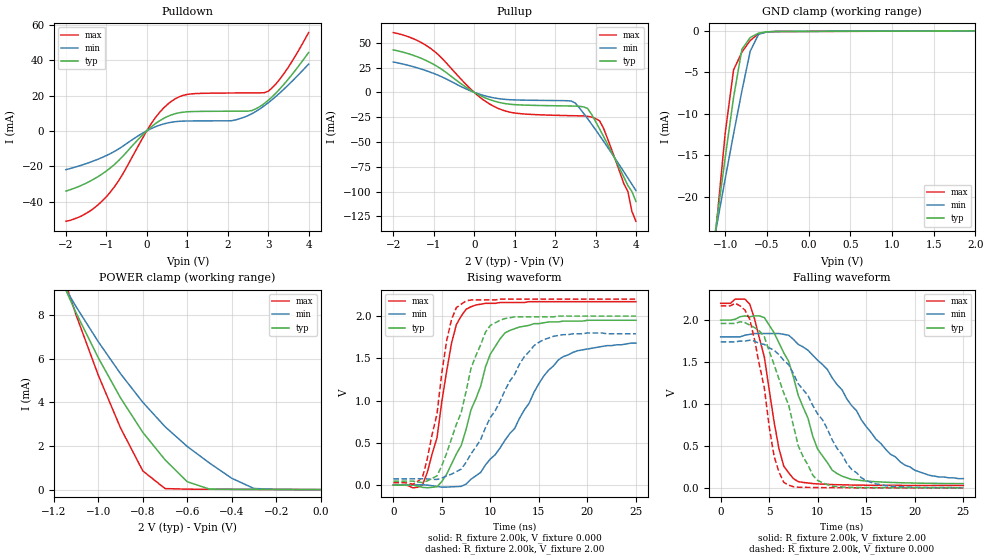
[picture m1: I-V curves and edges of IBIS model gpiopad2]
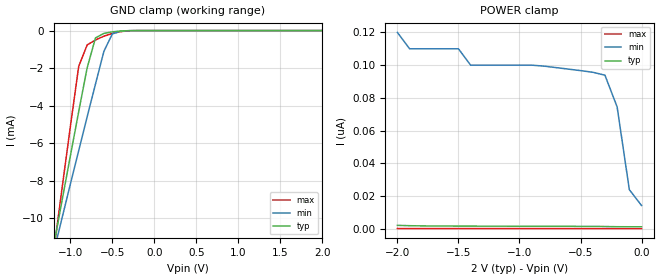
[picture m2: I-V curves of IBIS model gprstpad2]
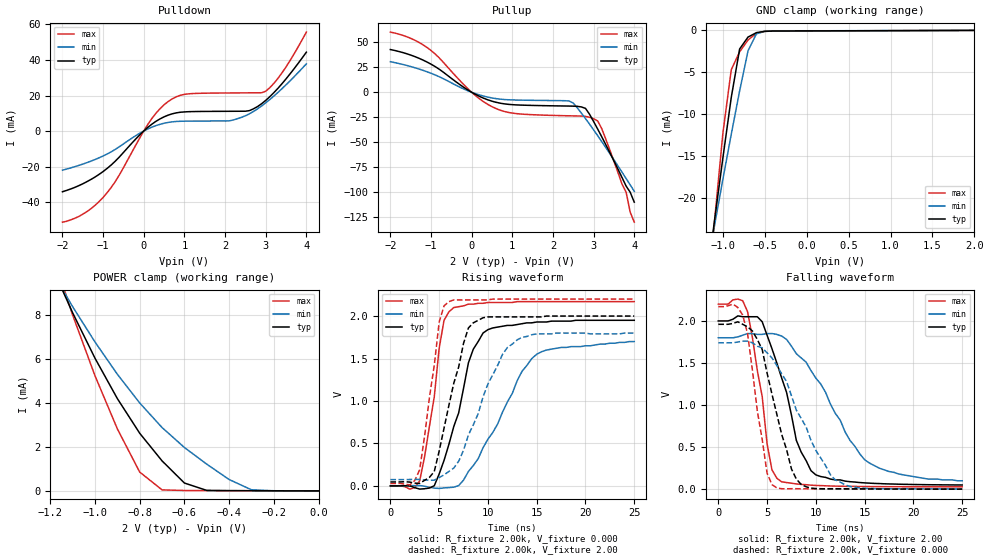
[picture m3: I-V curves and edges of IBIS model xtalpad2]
| IBIS file m322m44.ibs created by s2ibis2 version 1.1
| North Carolina State University Electronics Research Laboratory  1995
[IBIS ver]   2.1
[File name]   m322m44.ibs
[File Rev]   1.2
[Date]   April 19, 2006
[Source]   Lars Snith
[Notes]   Property of Atmel Corporation
[Disclaimer] (C) Copyright ATMEL Norway 2006 Atmel Norway makes no warranty
                 for the use of its products, other than those explicitly
                 stated in the Company's standard warranty which is detailed in
                 Atmel's Terms and Conditions located on the Company's web
                 site. The Company assumes no responsibility for any errors
                 which may appear in this document. The user is granted this
                 license only to use the IBIS model and is not granted rights
                 to sell, load, rent, lease or license the IBIS model in whole
                 or in part, or in modified form to anyone other than user.
                 User may modify the IBIS model to suit its specific
                 applications but rights to derivative works and such
                 modifications shall belong to Atmel Norway. This IBIS model is
                 provided on an \"AS IS\" basis and Atmel Norway makes
                 absolutely no warranty with respect to the information
                 contained herein.
[Copyright]   Copyright (c) 2006 by ATMEL Norway
|   Component atmega32_20_mlf44
[Component]   atmega32_20_mlf44
[Manufacturer]   Atmel Corp.
[Package]
| variable   typ   min   max
R_pkg   10.20m   9.10m   11.30m
L_pkg   73.30pH   66.40pH   80.10pH
C_pkg   0.16pF   0.15pF   0.16pF
[Pin]  signal_name   model_name   R_pin   L_pin   C_pin
1   PB5   gpiopad2
| db5  db5   dummy
| enb5 enb5   dummy
2   PB6   gpiopad2
| db6  db6   dummy
| enb6 enb6   dummy
3   PB7   gpiopad2
| db7  db7   dummy
| enb7 enb7   dummy
4   RESET   gprstpad2
5   VCC   POWER
6   GND   GND
7   XTAL2   xtalpad2
| dx2  dx2   dummy
| enx2 enx2   dummy
8   XTAL1   xtalpad2
| dx1  dx1   dummy
| enx1 enx1   dummy
9   PD0   gpiopad2
| dd0  dd0   dummy
| end0 end0   dummy
10   PD1   gpiopad2
| dd1  dd1   dummy
| end1 end1   dummy
11   PD2   gpiopad2
| dd2  dd2   dummy
| end2 end2   dummy
12   PD3   gpiopad2
| dd3  dd3   dummy
| end3 end3   dummy
13   PD4   gpiopad2
| dd4  dd4   dummy
| end4 end4   dummy
14   PD5   gpiopad2
| dd5  dd5   dummy
| end5 end5   dummy
15   PD6   gpiopad2
| dd6  dd6   dummy
| end6 end6   dummy
16   PD7   gpiopad2
| dd7  dd7   dummy
| end7 end7   dummy
17   VCC   POWER
18   GND   GND
19   PC0   gpiopad2
| dc0  dc0   dummy
| enc0 enc0   dummy
20   PC1   gpiopad2
| dc1  dc1   dummy
| enc1 enc1   dummy
21   PC2   gpiopad2
| dc2  dc2   dummy
| enc2 enc2   dummy
22   PC3   gpiopad2
| dc3  dc3   dummy
| enc3 enc3   dummy
23   PC4   gpiopad2
| dc4  dc4   dummy
| enc4 enc4   dummy
24   PC5   gpiopad2
| dc5  dc5   dummy
| enc5 enc5   dummy
25   PC6   gpiopad2
| dc6  dc6   dummy
| enc6 enc6   dummy
26   PC7   gpiopad2
| dc7  dc7   dummy
| enc7 enc7   dummy
27   AVCC   POWER
28   GND   GND
29   AREF   gpiopad2
| darefdaref   dummy
| enarfenarf   dummy
30   PA7   gpiopad2
| da7  da7   dummy
| ena7 ena7   dummy
31   PA6   gpiopad2
| da6  da6   dummy
| ena6 ena6   dummy
32   PA5   gpiopad2
| da5  da5   dummy
| ena5 ena5   dummy
33   PA4   gpiopad2
| da4  da4   dummy
| ena4 ena4   dummy
34   PA3   gpiopad2
| da3  da3   dummy
| ena3 ena3   dummy
35   PA2   gpiopad2
| da2  da2   dummy
| ena2 ena2   dummy
36   PA1   gpiopad2
| da1  da1   dummy
| ena1 ena1   dummy
37   PA0   gpiopad2
| da0  da0   dummy
| ena0 ena0   dummy
38   VCC   POWER
39   GND   GND
40   PB0   gpiopad2
| db0  db0   dummy
| enb0 enb0   dummy
41   PB1   gpiopad2
| db1  db1   dummy
| enb1 enb1   dummy
42   PB2   gpiopad2
| db2  db2   dummy
| enb2 enb2   dummy
43   PB3   gpiopad2
| db3  db3   dummy
| enb3 enb3   dummy
44   PB4   gpiopad2
| Models and submodels in the file (3): gpiopad2 (I/O), gprstpad2 (Input), xtalpad2 (I/O)
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| db4  db4   dummy
| enb4 enb4   dummy
|   Model gpiopad2
[Model]   gpiopad2
Model_type   I/O
Polarity   Non-Inverting
Enable   Active-High
Vinl =   0.60V
Vinh =   1.40V
Vmeas =   1.00V
Cref =  50.00pF
C_comp   6.77pF   6.76pF   7.17pF
[Temperature Range]   27.00   0.12k   -55.00
[Voltage Range]   2.00V   1.80V   2.20V
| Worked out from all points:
|   slope of the pulldown table from 0 to 0.3 V, typ, clamps not added: 55.3 ohm
|   slope of the pullup table from 0 to 0.3 V, typ, clamps not added: 49.8 ohm
|   GND clamp passes 1 mA (typ) near -0.71 V on its own axis
|   POWER clamp passes 1 mA (typ) near -0.66 V on its own axis
|   rising waveform, R_fixture 2.00k, V_fixture 0.000: 20-80 % time 3.46ns typ, 5.63ns min, 1.96ns max; typ from 0 V to 1.95 V
|   rising waveform, R_fixture 2.00k, V_fixture 2.00: 20-80 % time 3.14ns typ, 4.8ns min, 1.85ns max; typ from 0.047 V to 2 V
|   falling waveform, R_fixture 2.00k, V_fixture 2.00: 20-80 % time 3.62ns typ, 6.53ns min, 1.98ns max; typ from 2 V to 0.05 V
|   falling waveform, R_fixture 2.00k, V_fixture 0.000: 20-80 % time 3.22ns typ, 5.37ns min, 1.88ns max; typ from 1.96 V to 0.001 V
[Pulldown]
| voltage   I(typ)   I(min)   I(max)
-2V       -34.09mA   -21.96mA   -51.2mA
-1.4V     -28.44mA   -17.74mA   -45.29mA
-1V       -22.72mA   -13.98mA   -37.27mA
-600mV    -14.54mA   -8.78mA    -24.63mA
100mV     2.09mA     1.2mA      3.78mA
600mV     8.97mA     4.87mA     16.62mA
1V        10.79mA    5.58mA     20.65mA
2.1V      11.13mA    5.75mA     21.43mA
2.6V      11.51mA    9.72mA     21.51mA
3V        17.24mA    15.87mA    22.4mA
3.4V      26.62mA    23.83mA    32.71mA
4V        44.35mA    37.79mA    55.65mA
[Pullup]
| voltage   I(typ)   I(min)   I(max)
-2V       42.79mA    30.6mA     60.26mA
-1.1V     30.32mA    20.57mA    44.92mA
0V        0A         0A         0A
600mV     -10mA      -6.32mA    -16.31mA
1.1V      -12.62mA   -7.76mA    -21.34mA
2.4V      -13.78mA   -8.76mA    -23.53mA
2.8V      -16.12mA   -26.29mA   -24.12mA
3.1V      -36.81mA   -43.43mA   -28.68mA
3.2V      -44.55mA   -49.36mA   -36.36mA
3.8V      -93.88mA   -86.34mA   -100mA
3.9V      -100mA     -92.67mA   -120mA
4V        -110mA     -99.05mA   -130mA
[GND_clamp]
| voltage   I(typ)   I(min)   I(max)
-2V       -96.61mA   -77.59mA   -130mA
-1.2V     -30.47mA   -29.07mA   -33.69mA
-1.1V     -22.78mA   -23.38mA   -22.85mA
-1V       -15.27mA   -17.82mA   -12.32mA
-900mV    -8.03mA    -12.43mA   -4.71mA
-800mV    -2.22mA    -7.24mA    -2.56mA
-700mV    -800uA     -2.44mA    -1.15mA
-600mV    -270uA     -410uA     -350uA
-500mV    -110uA     -120uA     -120uA
2V        53.05pA    8.17uA     -6.36uA
[POWER_clamp]
| voltage   I(typ)   I(min)   I(max)
-2V       33.07mA    27.16mA    42.54mA
-1.2V     10.39mA    10.14mA    11.12mA
-1.1V     8.12mA     8.4mA      8.02mA
-1V       6.05mA     6.79mA     5.25mA
-900mV    4.21mA     5.32mA     2.83mA
-800mV    2.63mA     4.01mA     860uA
-700mV    1.37mA     2.89mA     47.11uA
-600mV    360uA      1.98mA     20uA
-500mV    23.78uA    1.22mA     15.94uA
-400mV    12.49uA    520uA      12.74uA
-300mV    9.23uA     51.48uA    9.55uA
0V        53.08pA    1.68nA     17.78pA
[Ramp]
| variable   typ   min   max
dV/dt_r   1.17/3.46n   1.01/5.69n   1.30/1.96n
dV/dt_f   1.17/3.61n   1.02/6.65n   1.30/1.96n
R_load = 2.00k
[Rising Waveform]
R_fixture = 2.00k
V_fixture = 0.000
V_fixture_min = 0.000
V_fixture_max = 0.000
| time   V(typ)   V(min)   V(max)
0s        0V         540nV      0V
3ns       -26.07mV   3.81mV     -420uV
4.5ns     -19.04mV   -14.99mV   560mV
6ns       250mV      -19.95mV   1.68V
6.5ns     370mV      -17.45mV   1.9V
7.5ns     660mV      12.62mV    2.08V
10ns      1.55V      310mV      2.15V
11.5ns    1.8V       530mV      2.16V
17ns      1.93V      1.48V      2.17V
25ns      1.95V      1.68V      2.17V
[Rising Waveform]
R_fixture = 2.00k
V_fixture = 2.00
V_fixture_min = 1.80
V_fixture_max = 2.20
| time   V(typ)   V(min)   V(max)
0s        46.62mV    73.87mV    28.11mV
3ns       30.35mV    75.81mV    90.32mV
4.5ns     110mV      67.1mV     840mV
5.5ns     380mV      110mV      1.71V
6.5ns     720mV      160mV      2.1V
8ns       1.38V      370mV      2.19V
10ns      1.89V      800mV      2.19V
13.5ns    1.99V      1.52V      2.2V
15ns      1.99V      1.69V      2.2V
25ns      2V         1.79V      2.2V
[Falling Waveform]
R_fixture = 2.00k
V_fixture = 2.00
V_fixture_min = 1.80
V_fixture_max = 2.20
| time   V(typ)   V(min)   V(max)
0s        2V         1.8V       2.2V
3ns       2.04V      1.83V      2.19V
4.5ns     2.03V      1.84V      1.56V
6ns       1.73V      1.84V      470mV
6.5ns     1.61V      1.83V      260mV
7.5ns     1.32V      1.77V      110mV
10ns      460mV      1.52V      46.94mV
12ns      170mV      1.23V      37.41mV
18.5ns    61.13mV    310mV      29.3mV
25ns      50.37mV    110mV      28.26mV
[Falling Waveform]
R_fixture = 2.00k
V_fixture = 0.000
V_fixture_min = 0.000
V_fixture_max = 0.000
| time   V(typ)   V(min)   V(max)
0s        1.96V      1.74V      2.17V
3ns       1.94V      1.76V      2.01V
4.5ns     1.8V       1.71V      1.19V
5.5ns     1.47V      1.64V      380mV
6.5ns     1.13V      1.52V      65.91mV
8ns       500mV      1.24V      7.44mV
10ns      87.47mV    880mV      3.49mV
13ns      7.48mV     290mV      1.6mV
15ns      3.68mV     87.54mV    910uV
25ns      620uV      2.58mV     43.14uV
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|   Model gprstpad2
[Model]   gprstpad2
Model_type   Input
Polarity   Non-Inverting
Vinl =   0.60V
Vinh =   1.40V
C_comp   1.14pF   0.79pF   1.19pF
[Temperature Range]   27.00   0.12k   -55.00
[Voltage Range]   2.00V   1.80V   2.20V
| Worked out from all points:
|   GND clamp passes 1 mA (typ) near -0.74 V on its own axis
[GND_clamp]
| voltage   I(typ)   I(min)   I(max)
-2V       -31.76mA   -26.99mA   -40.4mA
-1.2V     -11.53mA   -11.86mA   -11.86mA
-1.1V     -9.1mA     -10.02mA   -8.46mA
-1V       -6.7mA     -8.2mA     -5.14mA
-900mV    -4.32mA    -6.4mA     -1.91mA
-800mV    -2mA       -4.61mA    -770uA
-700mV    -390uA     -2.85mA    -500uA
-600mV    -150uA     -1.11mA    -300uA
-500mV    -67.56uA   -180uA     -150uA
-400mV    -22.8uA    -32.08uA   -55.94uA
-200mV    -460nA     -810nA     -580nA
2V        1.32nA     74.51nA    170pA
[POWER_clamp]
| voltage   I(typ)   I(min)   I(max)
-2V       2.2nA      120nA      240pA
-1.9V     1.98nA     110nA      230pA
-1.5V     1.75nA     110nA      220pA
-1.4V     1.73nA     100nA      220pA
-900mV    1.64nA     100nA      200pA
-400mV    1.56nA     95.67nA    190pA
-300mV    1.49nA     93.89nA    190pA
-200mV    1.36nA     74.51nA    180pA
-100mV    1.34nA     23.99nA    180pA
0V        1.32nA     14.31nA    180pA
|   Model xtalpad2
[Model]   xtalpad2
Model_type   I/O
Polarity   Non-Inverting
Enable   Active-High
Vinl =   0.60V
Vinh =   1.40V
Vmeas =   1.00V
Cref =  50.00pF
C_comp   4.23pF   4.23pF   4.63pF
[Temperature Range]   27.00   0.12k   -55.00
[Voltage Range]   2.00V   1.80V   2.20V
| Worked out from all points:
|   slope of the pulldown table from 0 to 0.3 V, typ, clamps not added: 55.3 ohm
|   slope of the pullup table from 0 to 0.3 V, typ, clamps not added: 49.8 ohm
|   GND clamp passes 1 mA (typ) near -0.71 V on its own axis
|   POWER clamp passes 1 mA (typ) near -0.66 V on its own axis
|   rising waveform, R_fixture 2.00k, V_fixture 0.000: 20-80 % time 2.61ns typ, 4.49ns min, 1.55ns max; typ from 0 V to 1.95 V
|   rising waveform, R_fixture 2.00k, V_fixture 2.00: 20-80 % time 2.32ns typ, 3.64ns min, 1.49ns max; typ from 0.047 V to 2 V
|   falling waveform, R_fixture 2.00k, V_fixture 2.00: 20-80 % time 2.82ns typ, 5.14ns min, 1.58ns max; typ from 2 V to 0.05 V
|   falling waveform, R_fixture 2.00k, V_fixture 0.000: 20-80 % time 2.5ns typ, 4.22ns min, 1.57ns max; typ from 1.96 V to 0.001 V
[Pulldown]
| voltage   I(typ)   I(min)   I(max)
-2V       -34.09mA   -21.96mA   -51.2mA
-1.4V     -28.44mA   -17.74mA   -45.29mA
-1V       -22.72mA   -13.98mA   -37.27mA
-600mV    -14.54mA   -8.78mA    -24.63mA
100mV     2.09mA     1.2mA      3.78mA
600mV     8.97mA     4.87mA     16.62mA
1V        10.79mA    5.58mA     20.65mA
2.1V      11.13mA    5.75mA     21.43mA
2.6V      11.51mA    9.72mA     21.51mA
3V        17.24mA    15.87mA    22.4mA
3.4V      26.62mA    23.83mA    32.71mA
4V        44.35mA    37.79mA    55.65mA
[Pullup]
| voltage   I(typ)   I(min)   I(max)
-2V       42.79mA    30.6mA     60.26mA
-1.1V     30.32mA    20.57mA    44.92mA
0V        0A         0A         0A
600mV     -10mA      -6.32mA    -16.31mA
1.1V      -12.62mA   -7.76mA    -21.34mA
2.4V      -13.78mA   -8.76mA    -23.53mA
2.8V      -16.12mA   -26.29mA   -24.12mA
3.1V      -36.81mA   -43.43mA   -28.68mA
3.2V      -44.55mA   -49.36mA   -36.36mA
3.8V      -93.88mA   -86.34mA   -100mA
3.9V      -100mA     -92.67mA   -120mA
4V        -110mA     -99.05mA   -130mA
[GND_clamp]
| voltage   I(typ)   I(min)   I(max)
-2V       -96.61mA   -77.59mA   -130mA
-1.2V     -30.47mA   -29.07mA   -33.69mA
-1.1V     -22.78mA   -23.38mA   -22.85mA
-1V       -15.27mA   -17.82mA   -12.32mA
-900mV    -8.03mA    -12.43mA   -4.71mA
-800mV    -2.22mA    -7.24mA    -2.56mA
-700mV    -800uA     -2.44mA    -1.15mA
-600mV    -270uA     -410uA     -350uA
-500mV    -110uA     -120uA     -120uA
2V        53.05pA    8.17uA     -6.36uA
[POWER_clamp]
| voltage   I(typ)   I(min)   I(max)
-2V       33.07mA    27.16mA    42.54mA
-1.2V     10.39mA    10.14mA    11.12mA
-1.1V     8.12mA     8.4mA      8.02mA
-1V       6.05mA     6.79mA     5.25mA
-900mV    4.21mA     5.32mA     2.83mA
-800mV    2.63mA     4.01mA     860uA
-700mV    1.37mA     2.89mA     47.11uA
-600mV    360uA      1.98mA     20uA
-500mV    23.78uA    1.22mA     15.94uA
-400mV    12.49uA    520uA      12.74uA
-300mV    9.23uA     51.48uA    9.55uA
0V        53.08pA    1.68nA     17.78pA
[Ramp]
| variable   typ   min   max
dV/dt_r   1.17/2.65n   1.02/4.56n   1.30/1.49n
dV/dt_f   1.17/2.81n   1.02/5.13n   1.30/1.54n
R_load = 2.00k
[Rising Waveform]
R_fixture = 2.00k
V_fixture = 0.000
V_fixture_min = 0.000
V_fixture_max = 0.000
| time   V(typ)   V(min)   V(max)
0s        0V         540nV      0V
3ns       -37.47mV   4.2mV      59.29mV
4.5ns     2.4mV      -25.69mV   1.05V
5ns       140mV      -30.31mV   1.62V
5.5ns     300mV      -23.79mV   1.95V
6.5ns     700mV      -15.01mV   2.1V
8ns       1.45V      170mV      2.14V
10ns      1.84V      550mV      2.16V
15ns      1.93V      1.55V      2.17V
25ns      1.95V      1.7V       2.17V
[Rising Waveform]
R_fixture = 2.00k
V_fixture = 2.00
V_fixture_min = 1.80
V_fixture_max = 2.20
| time   V(typ)   V(min)   V(max)
0s        46.62mV    73.87mV    28.11mV
2ns       44.88mV    75.4mV     12.5mV
3ns       29.48mV    75.51mV    190mV
4.5ns     170mV      67.09mV    1.42V
5ns       410mV      97.79mV    1.93V
6ns       950mV      170mV      2.17V
8ns       1.86V      600mV      2.19V
11.5ns    1.99V      1.55V      2.2V
13ns      1.99V      1.72V      2.2V
25ns      2V         1.8V       2.2V
[Falling Waveform]
R_fixture = 2.00k
V_fixture = 2.00
V_fixture_min = 1.80
V_fixture_max = 2.20
| time   V(typ)   V(min)   V(max)
0s        2V         1.8V       2.2V
2ns       2.06V      1.81V      2.26V
3ns       2.05V      1.85V      2.11V
4.5ns     1.99V      1.84V      1.1V
5ns       1.83V      1.85V      540mV
6ns       1.5V       1.84V      130mV
8ns       580mV      1.61V      61.97mV
10ns      170mV      1.32V      44.51mV
15ns      74.69mV    350mV      31.22mV
25ns      49.79mV    100mV      28.23mV
[Falling Waveform]
R_fixture = 2.00k
V_fixture = 0.000
V_fixture_min = 0.000
V_fixture_max = 0.000
| time   V(typ)   V(min)   V(max)
0s        1.96V      1.74V      2.17V
2.5ns     1.96V      1.76V      2.07V
3ns       1.93V      1.76V      1.85V
4.5ns     1.66V      1.68V      590mV
5ns       1.38V      1.62V      190mV
5.5ns     1.13V      1.56V      54.78mV
7ns       470mV      1.28V      4.32mV
8ns       120mV      940mV      5.35mV
12ns      5.38mV     110mV      1.9mV
25ns      560uV      2.32mV     49.6uV
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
